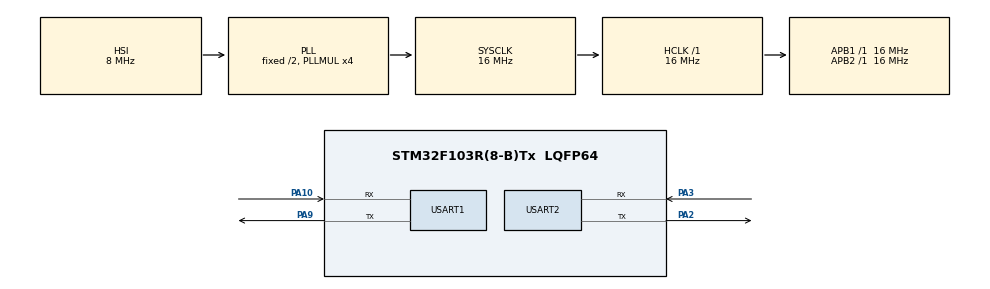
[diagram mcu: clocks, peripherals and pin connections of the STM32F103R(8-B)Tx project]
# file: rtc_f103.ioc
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Mcu.Family=STM32F1
Mcu.Name=STM32F103R(8-B)Tx
Mcu.Package=LQFP64
NVIC.PriorityGroup=NVIC_PRIORITYGROUP_4
NVIC.TIM2_IRQn=true\:0\:0\:false\:false\:true\:true\:true\:true
NVIC.USART1_IRQn=true\:0\:0\:false\:false\:true\:true\:true\:true
NVIC.USART2_IRQn=true\:0\:0\:false\:false\:true\:true\:true\:true
PA10.Mode=Asynchronous
PA10.Signal=USART1_RX
PA2.Mode=Asynchronous
PA2.Signal=USART2_TX
PA3.Mode=Asynchronous
PA3.Signal=USART2_RX
PA9.Mode=Asynchronous
PA9.Signal=USART1_TX
ProjectManager.HeapSize=0x200
ProjectManager.StackSize=0x400
ProjectManager.TargetToolchain=STM32CubeIDE
RCC.AHBFreq_Value=16000000
RCC.APB1Freq_Value=16000000
RCC.APB1TimFreq_Value=16000000
RCC.APB2Freq_Value=16000000
RCC.APB2TimFreq_Value=16000000
RCC.HCLKFreq_Value=16000000
RCC.PLLMUL=RCC_PLL_MUL4
RCC.SYSCLKFreq_VALUE=16000000
RCC.SYSCLKSource=RCC_SYSCLKSOURCE_PLLCLK
RCC.USBFreq_Value=16000000
TIM2.Period=4000-1
TIM2.Prescaler=1000-1
USART1.VirtualMode=VM_ASYNC
USART2.VirtualMode=VM_ASYNC
VP_SYS_VS_ND.Mode=No_Debug
VP_TIM2_VS_ClockSourceINT.Mode=Internal
board=custom

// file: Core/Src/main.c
/* USER CODE BEGIN Header */
/**
  ******************************************************************************
  * @file           : main.c
  * @brief          : Main program body
  ******************************************************************************
  * @attention
  *
  * Copyright (c) 2022 STMicroelectronics.
  * All rights reserved.
  *
  * This software is licensed under terms that can be found in the LICENSE file
  * in the root directory of this software component.
  * If no LICENSE file comes with this software, it is provided AS-IS.
  *
  ******************************************************************************
  */
/* USER CODE END Header */
#include "main.h"

/* USER CODE BEGIN Includes */
#include <stdio.h>
#include <stdbool.h>
/* USER CODE END Includes */

TIM_HandleTypeDef htim2;

UART_HandleTypeDef huart1;
UART_HandleTypeDef huart2;

void SystemClock_Config(void);
static void MX_GPIO_Init(void);
static void MX_TIM2_Init(void);
static void MX_USART1_UART_Init(void);
static void MX_USART2_UART_Init(void);
/* USER CODE BEGIN PFP */
void rtc_to_ascii(uint8_t value, uint8_t* result);
void hex_to_ascii(uint8_t value, uint8_t* result);
/* USER CODE END PFP */

/* USER CODE BEGIN 0 */
uint8_t UART1RxBuf[13] = {0};
uint8_t UART1RxBuf1;

uint8_t UART2RxBuf[17] = {0};
uint8_t UART2RxBuf1;

uint8_t gCntRx1 = 0;
uint8_t gCntRx2 = 0;

bool gCmdRx1Info = false;
bool gCmdRX2Info = false;

__IO ITStatus Uart1RxReady = RESET, Uart2RxReady = RESET;
/* USER CODE END 0 */

int main(void)
{

  /* MCU Configuration--------------------------------------------------------*/

  /* Reset of all peripherals, Initializes the Flash interface and the Systick. */
  HAL_Init();

  /* Configure the system clock */
  SystemClock_Config();

  /* Initialize all configured peripherals */
  MX_GPIO_Init();
  MX_TIM2_Init();
  MX_USART1_UART_Init();
  MX_USART2_UART_Init();
  /* USER CODE BEGIN 2 */
  HAL_TIM_Base_Start_IT(&htim2);
  /* USER CODE END 2 */

  /* Infinite loop */
  while (1)
  {

    /* USER CODE BEGIN 3 */
	  HAL_UART_Receive_IT(&huart1,&UART1RxBuf1,1);
	  HAL_UART_Receive_IT(&huart2,&UART2RxBuf1,1);

	  /* ?��?��?? 250ms 간격?���? ?��로그?�� ?��?��?���? 짰음 */
	  if (Uart1RxReady==SET)
	  {
		 if (UART1RxBuf1==0x02 || gCmdRx1Info == true)
		 {
			gCmdRx1Info = true;
		 	UART1RxBuf[gCntRx1] = UART1RxBuf1;
		 	Uart1RxReady = RESET;

		 	if(gCntRx1 == 12)
		 	{
		 		//체크?�� ?��?��?���? ?��르면 ?��기하?�� 코드?�� ?���? ?��?�� ?��?��?��
		 		uint8_t newline[2] = {'\r','\n'};
		 		uint8_t ascii[2] = {0};
		 		uint8_t value;
		 		uint8_t* start = "start \r\n";

		 		HAL_UART_Transmit(&huart2, start, strlen(start), 0xFF);
		 		/* sine data */

		 		value = UART1RxBuf[1];
		 		hex_to_ascii(value, ascii);
		 		HAL_UART_Transmit(&huart2, ascii, 2, 0xFF);

		 		value = UART1RxBuf[2];
		 		hex_to_ascii(value, ascii);
		 		HAL_UART_Transmit(&huart2, ascii, 2, 0xFF);

		 		HAL_UART_Transmit(&huart2, (uint8_t*)&newline, 2, 0xFFFF);

		 		for(int i = 5; i<11;i++)
		 		{
		 			value = UART1RxBuf[i];
		 			hex_to_ascii(value, ascii);
		 			HAL_UART_Transmit(&huart2, ascii, 2, 0xFF);
		 			HAL_UART_Transmit(&huart2, (uint8_t*)&newline, 2, 0xFFFF);
		 		}

		 		gCntRx1 = 0;

		 		for (int i = 0; i<13; i++)
		 		{
		 			UART1RxBuf[i] = 0;
		 		}

		 		gCmdRx1Info = false;
		 	}
		 	else
		 	{
		 		gCntRx1++;
		 	}

		 	UART1RxBuf1 = 0;
		 }
	  }

	 if(Uart2RxReady==SET)
	 {
		 if(UART2RxBuf1 == 'q' || gCmdRX2Info == true)
		 {
			 gCmdRX2Info = true;
			 UART2RxBuf[gCntRx2] = UART2RxBuf1;
			 Uart2RxReady = RESET;

			 if(gCntRx2 == 15)
			 {

				 uint8_t chksum=0;

				 for(int i =1;i<15;i++)
					 chksum += UART2RxBuf[i];

				 UART2RxBuf[16] = chksum;

				 HAL_UART_Transmit(&huart1, UART2RxBuf, 17, HAL_MAX_DELAY);

				 gCntRx2 = 0;

				 for (int i = 0; i<17; i++)
				 {
				 	UART2RxBuf[i] = 0;
				 }

				 gCmdRX2Info = false;
			 }
			 else
			 {
				 gCntRx2++;
			 }

			 UART2RxBuf1 = 0;
		 }
	 }
  }
  /* USER CODE END 3 */
}

void SystemClock_Config(void)
{
  RCC_OscInitTypeDef RCC_OscInitStruct = {0};
  RCC_ClkInitTypeDef RCC_ClkInitStruct = {0};

  /** Initializes the RCC Oscillators according to the specified parameters
  * in the RCC_OscInitTypeDef structure.
  */
  RCC_OscInitStruct.OscillatorType = RCC_OSCILLATORTYPE_HSI;
  RCC_OscInitStruct.HSIState = RCC_HSI_ON;
  RCC_OscInitStruct.HSICalibrationValue = RCC_HSICALIBRATION_DEFAULT;
  RCC_OscInitStruct.PLL.PLLState = RCC_PLL_ON;
  RCC_OscInitStruct.PLL.PLLSource = RCC_PLLSOURCE_HSI_DIV2;
  RCC_OscInitStruct.PLL.PLLMUL = RCC_PLL_MUL4;
  if (HAL_RCC_OscConfig(&RCC_OscInitStruct) != HAL_OK)
  {
    Error_Handler();
  }

  /** Initializes the CPU, AHB and APB buses clocks
  */
  RCC_ClkInitStruct.ClockType = RCC_CLOCKTYPE_HCLK|RCC_CLOCKTYPE_SYSCLK
                              |RCC_CLOCKTYPE_PCLK1|RCC_CLOCKTYPE_PCLK2;
  RCC_ClkInitStruct.SYSCLKSource = RCC_SYSCLKSOURCE_PLLCLK;
  RCC_ClkInitStruct.AHBCLKDivider = RCC_SYSCLK_DIV1;
  RCC_ClkInitStruct.APB1CLKDivider = RCC_HCLK_DIV1;
  RCC_ClkInitStruct.APB2CLKDivider = RCC_HCLK_DIV1;

  if (HAL_RCC_ClockConfig(&RCC_ClkInitStruct, FLASH_LATENCY_0) != HAL_OK)
  {
    Error_Handler();
  }
}

static void MX_TIM2_Init(void)
{

  TIM_ClockConfigTypeDef sClockSourceConfig = {0};
  TIM_MasterConfigTypeDef sMasterConfig = {0};

  htim2.Instance = TIM2;
  htim2.Init.Prescaler = 1000-1;
  htim2.Init.CounterMode = TIM_COUNTERMODE_UP;
  htim2.Init.Period = 4000-1;
  htim2.Init.ClockDivision = TIM_CLOCKDIVISION_DIV1;
  htim2.Init.AutoReloadPreload = TIM_AUTORELOAD_PRELOAD_DISABLE;
  if (HAL_TIM_Base_Init(&htim2) != HAL_OK)
  {
    Error_Handler();
  }
  sClockSourceConfig.ClockSource = TIM_CLOCKSOURCE_INTERNAL;
  if (HAL_TIM_ConfigClockSource(&htim2, &sClockSourceConfig) != HAL_OK)
  {
    Error_Handler();
  }
  sMasterConfig.MasterOutputTrigger = TIM_TRGO_RESET;
  sMasterConfig.MasterSlaveMode = TIM_MASTERSLAVEMODE_DISABLE;
  if (HAL_TIMEx_MasterConfigSynchronization(&htim2, &sMasterConfig) != HAL_OK)
  {
    Error_Handler();
  }

}

static void MX_USART1_UART_Init(void)
{

  huart1.Instance = USART1;
  huart1.Init.BaudRate = 115200;
  huart1.Init.WordLength = UART_WORDLENGTH_8B;
  huart1.Init.StopBits = UART_STOPBITS_1;
  huart1.Init.Parity = UART_PARITY_NONE;
  huart1.Init.Mode = UART_MODE_TX_RX;
  huart1.Init.HwFlowCtl = UART_HWCONTROL_NONE;
  huart1.Init.OverSampling = UART_OVERSAMPLING_16;
  if (HAL_UART_Init(&huart1) != HAL_OK)
  {
    Error_Handler();
  }

}

static void MX_USART2_UART_Init(void)
{

  huart2.Instance = USART2;
  huart2.Init.BaudRate = 115200;
  huart2.Init.WordLength = UART_WORDLENGTH_8B;
  huart2.Init.StopBits = UART_STOPBITS_1;
  huart2.Init.Parity = UART_PARITY_NONE;
  huart2.Init.Mode = UART_MODE_TX_RX;
  huart2.Init.HwFlowCtl = UART_HWCONTROL_NONE;
  huart2.Init.OverSampling = UART_OVERSAMPLING_16;
  if (HAL_UART_Init(&huart2) != HAL_OK)
  {
    Error_Handler();
  }

}

static void MX_GPIO_Init(void)
{

  /* GPIO Ports Clock Enable */
  __HAL_RCC_GPIOA_CLK_ENABLE();

}

/* USER CODE BEGIN 4 */

void hex_to_ascii(uint8_t value, uint8_t* result)
{
	uint8_t hex_10 = value >> 4;
	uint8_t hex_1 = value & 0x0F;

	if((hex_10 & 0x0F) <= 9)
	{
		result[0] = '0' + hex_10;
	}
	else
	{
		result[0] = '7' + hex_10;
	}

	if((hex_1 & 0x0F) <= 9)
	{
		result[1] = '0' + hex_1;
	}
	else
	{
		result[1] = '7' + hex_1;
	}

}

void HAL_TIM_PeriodElapsedCallback(TIM_HandleTypeDef *htim)
{
	if(htim->Instance == TIM2)
	{
		uint8_t sendEvery500ms = 's';

		HAL_UART_Transmit(&huart1, (uint8_t*)&sendEvery500ms, 1, HAL_MAX_DELAY);
	}
}

void HAL_UART_RxCpltCallback(UART_HandleTypeDef *huart)
{
	if(huart->Instance == USART1)
	{
		Uart1RxReady = SET;
	}

	if(huart->Instance == USART2)
	{
		Uart2RxReady = SET;
	}
}

/* USER CODE END 4 */

void Error_Handler(void)
{
  __disable_irq();
  while (1)
  {
  }
}
